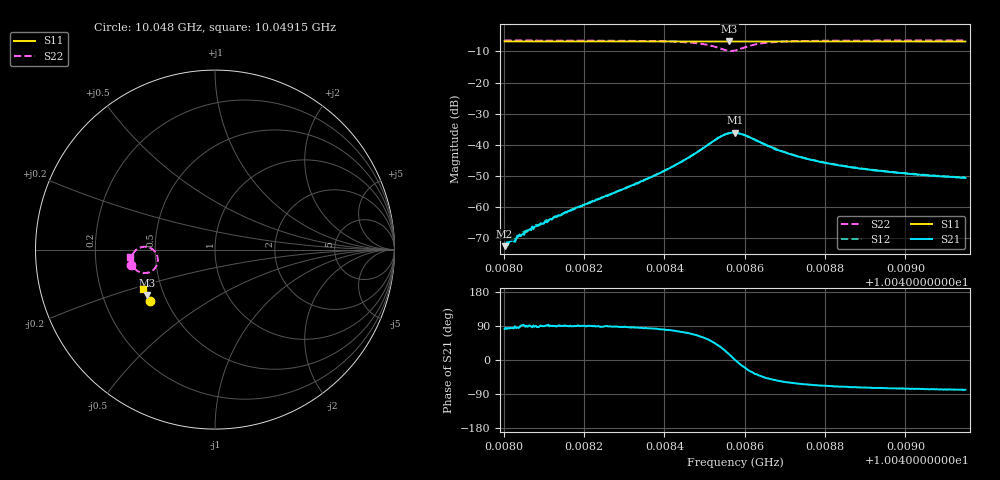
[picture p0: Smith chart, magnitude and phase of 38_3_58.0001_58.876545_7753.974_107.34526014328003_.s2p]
#  HZ  S  RI  R  50.00
! Rohde & Schwarz Vector Network Analyzer
! Rohde-Schwarz,ZNB20-2Port,1311601062101988,3.16
! Created: UTC 3/21/2024, 12:51:59 AM
! freq[Hz]  re:S11  im:S11  re:S21  im:S21  re:S12  im:S12  re:S22  im:S22
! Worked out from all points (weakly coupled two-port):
!   401 points, 10.048 GHz to 10.04915 GHz, reference 50 ohm
!   highest |S21| = -36.05 dB at 10.04858 GHz (marker M1); lowest = -72.5 dB at 10.048 GHz (marker M2)
!   lowest |S11| = -6.8 dB at 10.04856 GHz (marker M3), VSWR 2.68, Z = 20.1 - j12.8 ohm
!   |S11| at or under -10 dB: nowhere
!   |S22| runs from -9.8 to -6.5 dB; largest |S21 - S12| = 0.0011
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1.0048002e10  -0.3609 -0.2844  3.37e-05 0.000235  9.88e-06 0.000242  -0.4666 -0.0847
1.0048011e10  -0.3613 -0.284  2.35e-05 0.000249  -2.21e-05 0.000259  -0.4665 -0.0839
1.0048025e10  -0.3618 -0.2832  3.38e-05 0.000285  -5.74e-06 0.000309  -0.4667 -0.0827
1.004804e10  -0.3624 -0.2824  2.33e-05 0.000355  -4.47e-05 0.00036  -0.4668 -0.0813
1.0048048e10  -0.3627 -0.2818  -1.72e-05 0.000373  -2.9e-05 0.000398  -0.4669 -0.0805
1.0048063e10  -0.3632 -0.281  -5.8e-06 0.000433  -3.35e-05 0.000396  -0.4669 -0.0791
1.0048077e10  -0.364 -0.2803  1.88e-05 0.000488  -1.6e-05 0.000476  -0.467 -0.0776
1.0048194e10  -0.3686 -0.2739  -3e-06 0.00104  -8.59e-05 0.00103  -0.4674 -0.0645
1.0048329e10  -0.3736 -0.2664  0.00019 0.00239  5.49e-05 0.00242  -0.4647 -0.0432
1.0048387e10  -0.3757 -0.2632  0.000526 0.00345  0.00033 0.00349  -0.4602 -0.0294
1.0048441e10  -0.3777 -0.2599  0.00143 0.0051  0.0011 0.00523  -0.449 -0.0113
1.0048487e10  -0.379 -0.2571  0.00367 0.00719  0.00322 0.0074  -0.4244 0.00826
1.0048536e10  -0.38 -0.2541  0.0104 0.00797  0.00988 0.00852  -0.3589 0.00831
1.0048561e10  -0.3803 -0.2529  0.0149 0.00396  0.0146 0.00494  -0.3217 -0.0353
1.0048576e10  -0.3807 -0.2526  0.0158 4.16e-05  0.0156 0.00114  -0.3198 -0.0712
1.0048607e10  -0.3821 -0.2515  0.0122 -0.00593  0.0127 -0.00509  -0.3601 -0.1236
1.0048647e10  -0.3841 -0.2494  0.00724 -0.00731  0.00787 -0.00688  -0.4118 -0.1282
1.0048705e10  -0.3862 -0.2462  0.00384 -0.0063  0.00431 -0.00608  -0.4443 -0.1096
1.0048768e10  -0.3888 -0.2425  0.00237 -0.0052  0.00267 -0.0051  -0.4578 -0.0923
1.0048865e10  -0.3921 -0.2367  0.00138 -0.00414  0.00168 -0.00408  -0.4661 -0.0742
1.004896e10  -0.395 -0.2313  0.000982 -0.00355  0.00119 -0.00351  -0.4694 -0.0615
1.0049149e10  -0.401 -0.2203  0.00059 -0.00289  0.000769 -0.00288  -0.4726 -0.0421
